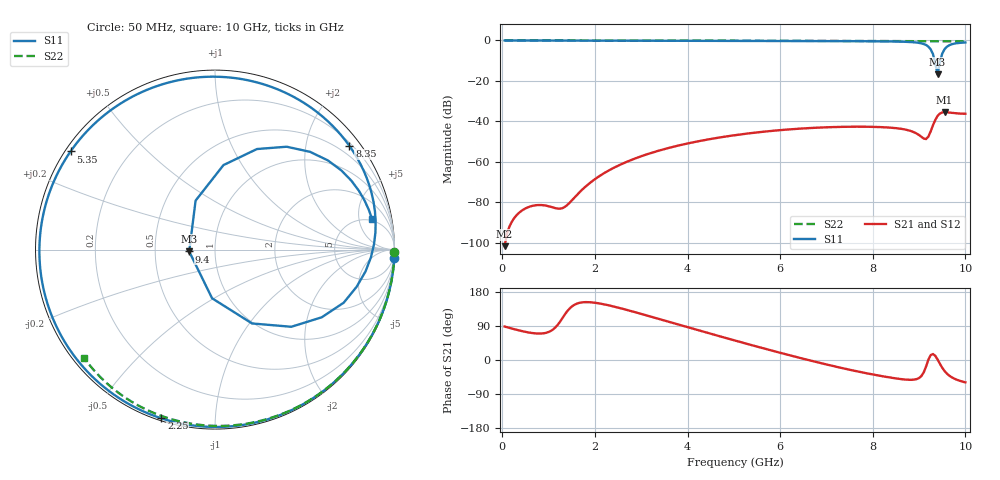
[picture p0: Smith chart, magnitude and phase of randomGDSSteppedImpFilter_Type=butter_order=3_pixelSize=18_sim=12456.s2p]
! freq	dB(S11)	phase(S11)	dB(S12)	phase(S12)
!  dB(S21)	phase(S21)	dB(S22)	phase(S22)
!S-par simulation data
#  GHz  S  DB  R 50
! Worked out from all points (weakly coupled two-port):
!   200 points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, 50 MHz to 10 GHz, reference 50 ohm
!   highest |S21| = -35.48 dB at 9.55 GHz (marker M1); lowest = -101.7 dB at 50 MHz (marker M2)
!   lowest |S11| = -16.8 dB at 9.4 GHz (marker M3), VSWR 1.34, Z = 37.4 - j0.796 ohm
!   |S11| at or under -10 dB: 9.336 GHz to 9.458 GHz (122.2 MHz wide, 1.3 % of centre)
!   |S22| runs from -0.5 to 0.0 dB; largest |S21 - S12| = 0
!   S11 on the Smith chart (normalised r, x): 50 MHz: 0, -43; 2.25 GHz: 0.01, -0.73; 5.35 GHz: 0.01, +0.31; 8.35 GHz: 0.26, +2.91; 9.4 GHz: 0.75, -0.02; 10 GHz: 4.66, +7.68
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0.05  -0.00 -2.7  -101.73 88.3  -101.73 88.3  -0.00 -0.8
0.8  -0.05 -41.7  -81.38 69.8  -81.38 69.8  -0.02 -12.9
1.45  -0.09 -73.1  -80.32 135.4  -80.32 135.4  -0.03 -23.3
1.75  -0.10 -86.6  -73.24 152.4  -73.24 152.4  -0.04 -28.1
2.25  -0.12 -107.6  -64.93 145.6  -64.93 145.6  -0.05 -35.9
3.4  -0.16 -150.3  -54.37 107.7  -54.37 107.7  -0.07 -53.4
4.2  -0.19 -177.1  -50.00 79.7  -50.00 79.7  -0.09 -65.1
5.05  -0.22 155.5  -46.76 50.5  -46.76 50.5  -0.12 -77.1
5.35  -0.24 145.8  -45.87 40.4  -45.87 40.4  -0.13 -81.2
6.7  -0.31 101.0  -43.24 -2.9  -43.24 -2.9  -0.19 -99.2
7.55  -0.36 70.4  -42.66 -27.0  -42.66 -27.0  -0.25 -110.1
8.35  -0.48 37.7  -43.07 -45.8  -43.07 -45.8  -0.31 -120.1
8.75  -0.70 16.7  -44.31 -52.0  -44.31 -52.0  -0.34 -125.0
9.05  -1.44 -8.3  -47.66 -42.2  -47.66 -42.2  -0.37 -128.7
9.15  -2.21 -22.4  -48.77 -17.4  -48.77 -17.4  -0.38 -129.9
9.25  -4.37 -45.3  -44.99 12.9  -44.99 12.9  -0.39 -131.1
9.3  -6.74 -63.4  -41.96 15.8  -41.96 15.8  -0.40 -131.7
9.4  -16.82 -175.9  -37.29 1.3  -37.29 1.3  -0.41 -132.9
9.5  -6.50 84.3  -35.61 -20.5  -35.61 -20.5  -0.42 -134.2
9.55  -4.33 67.4  -35.48 -29.1  -35.48 -29.1  -0.42 -134.8
9.75  -1.61 32.1  -35.93 -48.5  -35.93 -48.5  -0.44 -137.2
10  -1.00 10.9  -36.25 -59.1  -36.25 -59.1  -0.47 -140.3
